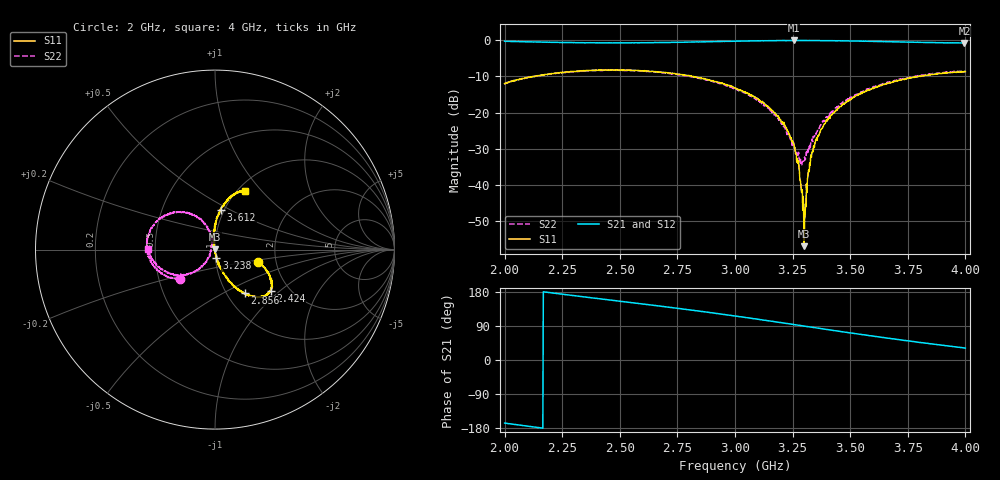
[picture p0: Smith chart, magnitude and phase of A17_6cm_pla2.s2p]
!Keysight Technologies N9950B: A.12.38
!Date: Monday, 17 April 2023 19:42:09
!Timezone: (UTC-06:00) Central Time (US & Canada)
!Model: N9950B
!Serial: MY61131330
!GPS Latitude:
!GPS Longitude:
!GPS TimeStamp: 0001-01-01 00:00:00Z
!GPS Seconds Since Last Read: 0
!CHECKSUM:0230909018
!Correction: S11(ON U)S21(ON U)S12(ON U)S22(ON U)
!S2P File: Measurements:S11,S21,S12,S22:
# Hz S DB R 50
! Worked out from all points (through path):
!   1001 points, 2 GHz to 4 GHz, reference 50 ohm
!   highest |S21| = -0.16 dB at 3.254 GHz (marker M1); lowest = -0.9 dB at 3.996 GHz (marker M2)
!   group delay of S21, straight-line fit = 228 ps
!   lowest |S11| = -56.8 dB at 3.3 GHz (marker M3), VSWR 1.00, Z = 49.9 + j0.0574 ohm
!   |S11| at or under -10 dB: start of sweep to 2.134 GHz; 2.813 GHz to 3.8 GHz (986.8 MHz wide, 29.8 % of centre); 3.803038 GHz to 3.805893 GHz (2.855 MHz wide, 0.0751 % of centre)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
!   |S22| runs from -34.4 to -8.3 dB; largest |S21 - S12| = 0.0062
!   S11 on the Smith chart (normalised r, x): 2 GHz: 1.61, -0.24; 2.424 GHz: 1.62, -0.87; 2.856 GHz: 1.21, -0.64; 3.238 GHz: 1.01, -0.10; 3.612 GHz: 0.97, +0.45; 4 GHz: 1.08, +0.81
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2e9  -12.03 -16.1  -0.36 -166.5  -0.37 -166.4  -11.90 -140.2
2.334e9  -8.55 -32.3  -0.76 167.5  -0.76 167.4  -8.65 -173.4
2.424e9  -8.28 -36.3  -0.84 160.8  -0.82 160.7  -8.42 177.2
2.668e9  -8.82 -46.7  -0.76 142.6  -0.75 142.7  -8.94 152.8
2.856e9  -10.63 -55.9  -0.55 128.1  -0.53 128.0  -10.73 134.3
3e9  -13.20 -64.0  -0.37 116.1  -0.37 116.2  -13.35 119.9
3.154e9  -19.06 -72.0  -0.24 102.8  -0.22 102.6  -19.55 106.6
3.238e9  -26.38 -80.1  -0.20 95.1  -0.18 95.1  -26.74 113.4
3.254e9  -28.44 -80.8  -0.16 93.7  -0.18 93.7  -28.24 118.1
3.27e9  -32.61 -81.2  -0.19 92.2  -0.17 92.2  -31.25 135.9
3.282e9  -38.62 -79.1  -0.18 91.1  -0.18 91.0  -33.75 158.0
3.294e9  -46.87 -113.8  -0.18 90.1  -0.19 90.1  -33.43 176.2
3.3e9  -56.80 156.5  -0.19 89.4  -0.19 89.4  -33.16 -169.7
3.308e9  -45.99 93.0  -0.16 88.7  -0.17 88.7  -32.49 -162.2
3.32e9  -35.83 99.4  -0.19 87.6  -0.17 87.8  -30.66 -141.8
3.334e9  -30.93 99.5  -0.21 86.4  -0.20 86.4  -27.30 -137.0
3.378e9  -24.25 94.1  -0.20 82.5  -0.20 82.5  -22.90 -128.4
3.424e9  -20.31 94.2  -0.25 78.2  -0.23 78.3  -19.75 -127.8
3.612e9  -13.11 81.3  -0.43 62.0  -0.43 61.9  -12.66 -141.9
3.668e9  -11.85 79.3  -0.50 57.2  -0.47 57.2  -11.70 -147.2
3.996e9  -8.80 63.7  -0.87 31.6  -0.85 31.7  -8.61 179.6
4e9  -8.73 63.2  -0.85 31.5  -0.83 31.5  -8.59 179.2
